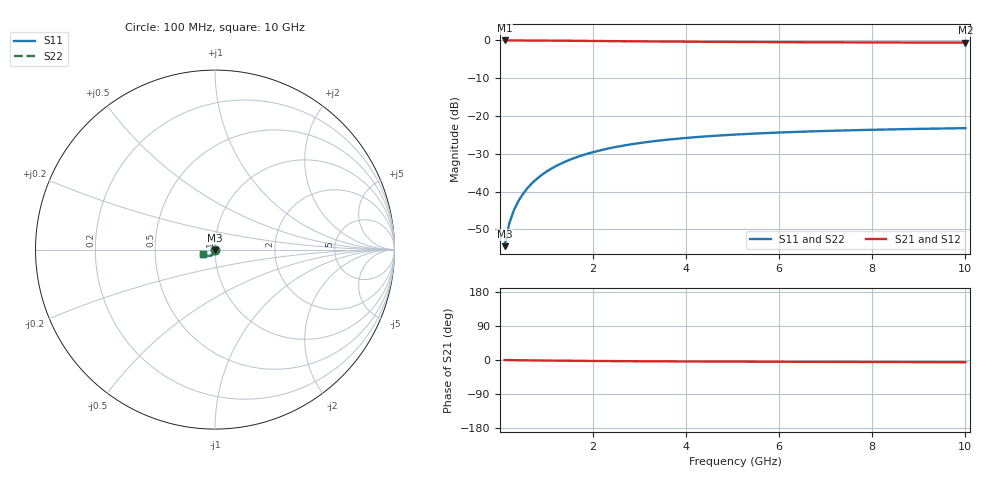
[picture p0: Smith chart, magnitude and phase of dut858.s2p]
! Touchstone file exported from HFSS 2024.1.0
!  File:  C:/UserFiles/LocalFiles/RDL_TSV_Batchsim/temp_TSV1_858_1779881618.aedt
!  Generated:  07:40:00 PM May 27, 2026
!  Design:  TSV1
!  Project:  temp_TSV1_858_1779881618
!  Setup:  Setup1
!  Solution:  Sweep
! Variables:
!  dtsv = 13.11um
!  hbump = 3um
!  htsv = 91.13um
!  lrdl = 252.1521522um
!  p = 40
!  p1 = 45.71um
!  t = 500um
!  trdl = 3um
!  wrdl = 24.89489489um
# GHz S MA R 50.000000
! Terminal data exported
! Port[1] = TSV22_T1
! Port[2] = TSV22_T2
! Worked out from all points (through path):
!   100 points, 100 MHz to 10 GHz, reference 50 ohm
!   highest |S21| = 0.00 dB at 100 MHz (marker M1); lowest = -0.6 dB at 10 GHz (marker M2)
!   lowest |S11| = -54.5 dB at 100 MHz (marker M3), VSWR 1.00, Z = 50 - j0.189 ohm
!   |S11| at or under -10 dB: start of sweep to end of sweep
!   |S22| runs from -54.5 to -23.2 dB; largest |S21 - S12| = 4.4e-15
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0.1  0.001892 -88.6  0.9998 -0.2  0.9998 -0.2  0.001892 -88.6
! Gamma 0 0 0 0
! Port Impedance 50 0 50 0
0.2  0.003782 -91.5  0.9997 -0.3  0.9997 -0.3  0.003782 -91.5
0.3  0.005672 -93.5  0.9994 -0.5  0.9994 -0.5  0.005672 -93.5
0.4  0.007553 -95.3  0.999 -0.6  0.999 -0.6  0.007553 -95.3
0.5  0.009419 -97.0  0.9985 -0.8  0.9985 -0.8  0.009419 -97.0
0.6  0.01126 -98.7  0.998 -0.9  0.998 -0.9  0.01126 -98.7
0.7  0.01308 -100.3  0.9973 -1.0  0.9973 -1.0  0.01308 -100.3
0.8  0.01487 -101.9  0.9966 -1.2  0.9966 -1.2  0.01487 -101.9
0.9  0.01663 -103.5  0.9958 -1.3  0.9958 -1.3  0.01663 -103.5
1.1  0.02003 -106.5  0.9941 -1.6  0.9941 -1.6  0.02003 -106.5
1.4  0.02482 -110.8  0.991 -1.9  0.991 -1.9  0.02482 -110.8
1.6  0.0278 -113.5  0.9888 -2.2  0.9888 -2.2  0.0278 -113.5
1.8  0.03059 -116.1  0.9865 -2.4  0.9865 -2.4  0.03059 -116.1
2.1  0.03445 -119.7  0.983 -2.7  0.983 -2.7  0.03445 -119.7
2.5  0.039 -124.0  0.9784 -3.0  0.9784 -3.0  0.039 -124.0
2.9  0.04293 -127.9  0.974 -3.2  0.974 -3.2  0.04293 -127.9
3.4  0.04711 -132.2  0.9688 -3.5  0.9688 -3.5  0.04711 -132.2
4.2  0.05243 -137.9  0.9617 -3.9  0.9617 -3.9  0.05243 -137.9
5.1  0.05696 -143.0  0.9551 -4.3  0.9551 -4.3  0.05696 -143.0
6.7  0.06257 -150.0  0.9464 -4.8  0.9464 -4.8  0.06257 -150.0
8.4  0.06647 -155.5  0.9401 -5.4  0.9401 -5.4  0.06647 -155.5
10  0.069 -159.5  0.9358 -5.9  0.9358 -5.9  0.06899 -159.5
